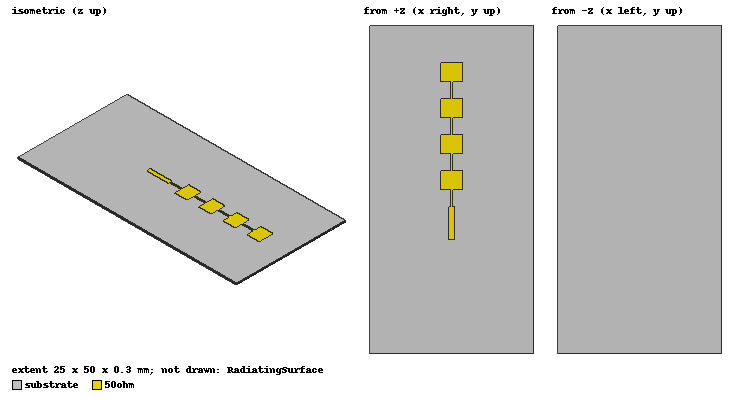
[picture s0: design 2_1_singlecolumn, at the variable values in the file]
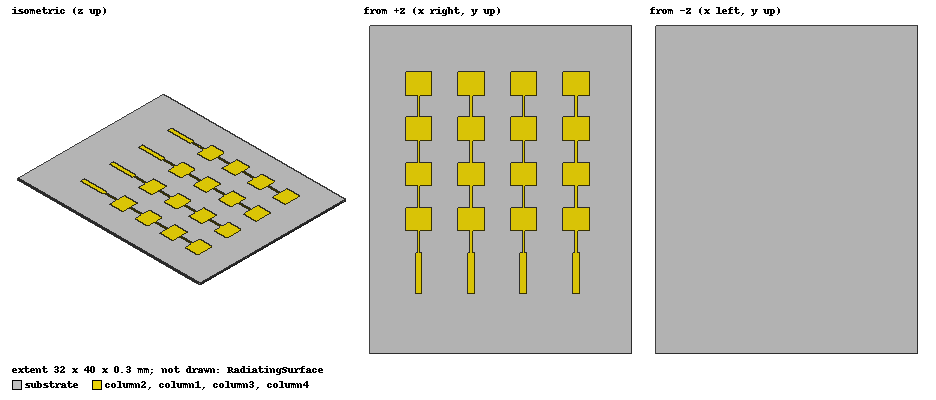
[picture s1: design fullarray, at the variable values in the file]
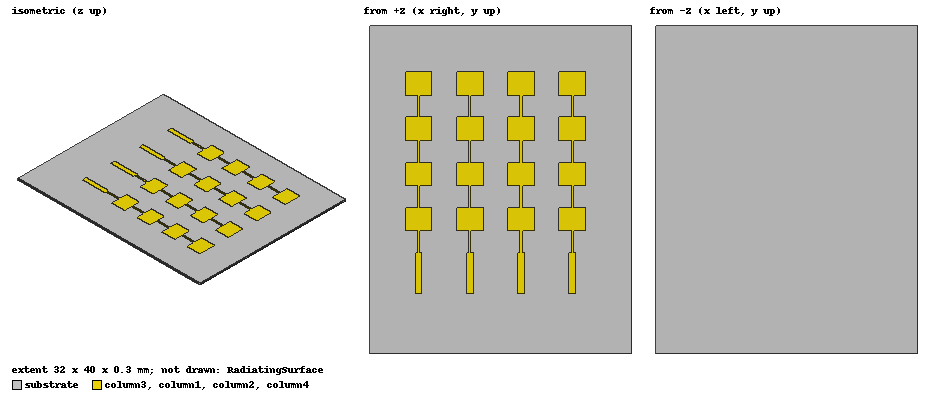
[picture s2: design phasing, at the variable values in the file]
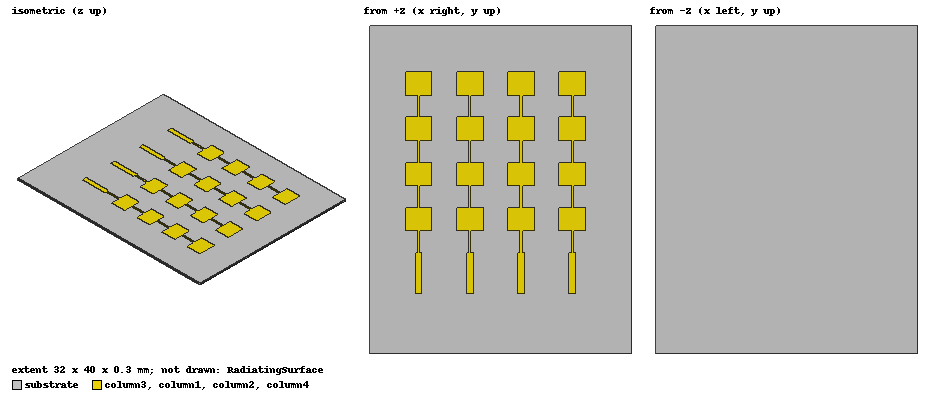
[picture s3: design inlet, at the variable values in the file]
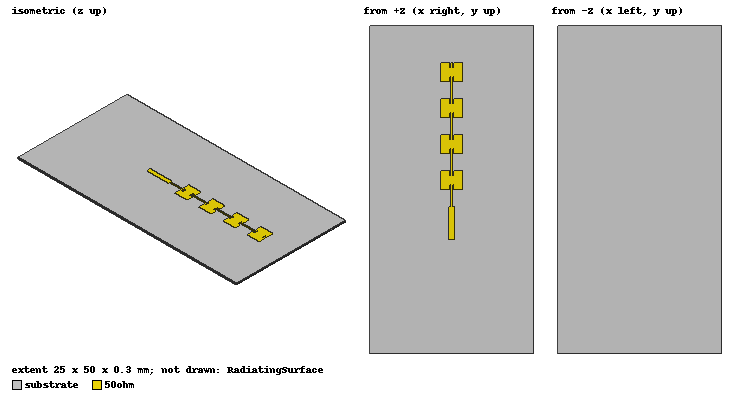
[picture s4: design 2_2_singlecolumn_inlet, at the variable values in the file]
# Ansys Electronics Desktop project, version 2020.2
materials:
  vacuum: permittivity=1
  Arlon AD410 (tm): permittivity=4.1 dielectric_loss_tangent=0.003
  air: permittivity=1.0006 permeability=1.0000004

design 2_1_singlecolumn (HFSS, DrivenModal, model units mm)
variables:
  subX = 25mm
  subY = 50mm
  subZ = 0.3mm
  patchW = 3.25mm
  patchL = 2.85mm
  arraySpaceL = 2.65mm
  qwtWidth = 0.3mm
  fiftyOhmW = 0.85mm
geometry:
  substrate [Arlon AD410 (tm)] = box(corner=(-subX/2, -subY/2, -subZ), size=(subX, subY, subZ))
  patch1 = rectangle(corner=(-patchW/2, 0mm, 0mm), x_size=patchW, y_size=patchL)
  patch2 = rectangle(corner=(-patchW/2, 1 * (patchL + arraySpaceL), 0mm), x_size=patchW, y_size=patchL)
  patch3 = rectangle(corner=(-patchW/2, 2*(patchL + arraySpaceL ), 0mm), x_size=patchW, y_size=patchL)
  patch4 = rectangle(corner=(-patchW/2, 3*(patchL + arraySpaceL), 0mm), x_size=patchW, y_size=patchL)
  QWTtrace = rectangle(corner=(-qwtWidth/2, -arraySpaceL, 0mm), x_size=qwtWidth, y_size=4*patchL + 4*arraySpaceL)
  50ohm = rectangle(corner=(-fiftyOhmW/2, -5mm - arraySpaceL, 0mm), x_size=fiftyOhmW, y_size=5mm)
  50ohm.unite(QWTtrace, patch1..patch4)
  Rectangle1 = rectangle(corner=(-fiftyOhmW/2, -(arraySpaceL + 5mm), -subZ), z_size=subZ, x_size=fiftyOhmW)
  RadiatingSurface [vacuum] = region(absolute_offset=3.5714286mm on all sides)
  coordinate_system RelativeCS1 = origin=(-0.15mm, 9.675mm, 0mm) x=(1mm, 0mm, 0mm) y=(0mm, 1mm, 0mm)
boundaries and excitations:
  ground: Perfect E Faces=substrate.face(-z)
  goldTrace: Finite Conductivity Faces=50ohm.face(at (0, -5.15, 0)) Conductivity=41100000 Permeability=1 IsInternal
  Open1: Radiation Objects=RadiatingSurface
  port1: Lumped Port Objects=Rectangle1 Modes{Mode1{IntLine{middle of Rectangle1.edge(z opposite corner) -> middle of Rectangle1.edge(z at corner)} CharImp=Zpi RenormImp=50ohm}} Impedance=50ohm
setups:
  Setup1: HfssDriven Frequency=28GHz MaxDeltaS=0.02 MaximumPasses=6 MinimumPasses=1 MinimumConvergedPasses=1 PercentRefinement=30 BasisOrder=0 PortAccuracy=2
    sweep Sweep: 20GHz to 36GHz, 401 points; Type=Interpolating InterpTolerance=0.2 InterpMaxSolns=250 InterpUsePortImped=false PassivityErrorTolerance=0.0001
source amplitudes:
  port1:1: 1W 0deg
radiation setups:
  3D: Infinite Sphere Theta=0deg..180deg step 2deg Phi=-180deg..180deg step 2deg
  Elevation: Infinite Sphere Theta=-180deg..180deg step 1deg Phi=0deg..90deg step 90deg
  Azimuth: Infinite Sphere Theta=90deg..90deg step 0deg Phi=-180deg..180deg step 1deg
  ff_2d: Infinite Sphere Theta=-180deg..180deg step 2deg Phi=0deg..90deg step 90deg
  Infinite Sphere1: Infinite Sphere Theta=0deg..180deg step 2deg Phi=0deg..360deg step 2deg
  coord: Infinite Sphere Theta=0deg..180deg step 2deg Phi=0deg..360deg step 2deg CoordSystem=RelativeCS1
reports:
  Gain Plot 1: dB(GainTotal) vs Phi, Theta on Setup1 : LastAdaptive, 3D [Freq=28GHz]
  Gain Plot 2: dB(GainTotal) vs Phi, Theta on Setup1 : LastAdaptive, coord [Freq=28GHz]

design fullarray (HFSS, DrivenModal, model units mm)
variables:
  subX = 32mm
  subY = 40mm
  subZ = 0.3mm
  patchW = 3.25mm
  patchL = 2.85mm
  arraySpaceL = 2.65mm
  qwtWidth = 0.3mm
  fiftyOhmW = 0.85mm
  antennaSpacing = ((6.25 +  0.15)/2) mm
  dt = 0deg
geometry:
  substrate [Arlon AD410 (tm)] = box(corner=(-6mm, -15mm, -subZ), size=(subX, subY, subZ))
  patch1 = rectangle(corner=(-patchW/2, 0mm, 0mm), x_size=patchW, y_size=patchL)
  patch2 = rectangle(corner=(-patchW/2, 1 * (patchL + arraySpaceL), 0mm), x_size=patchW, y_size=patchL)
  patch3 = rectangle(corner=(-patchW/2, 2*(patchL + arraySpaceL ), 0mm), x_size=patchW, y_size=patchL)
  patch4 = rectangle(corner=(-patchW/2, 3*(patchL + arraySpaceL), 0mm), x_size=patchW, y_size=patchL)
  QWTtrace = rectangle(corner=(-qwtWidth/2, -arraySpaceL, 0mm), x_size=qwtWidth, y_size=4*patchL + 4*arraySpaceL)
  column1 = rectangle(corner=(-fiftyOhmW/2, -5mm - arraySpaceL, 0mm), x_size=fiftyOhmW, y_size=5mm)
  column1.unite(QWTtrace, patch1..patch4)
  Rectangle1 = rectangle(corner=(-fiftyOhmW/2, -(arraySpaceL + 5mm), -subZ), z_size=subZ, x_size=fiftyOhmW)
  RadiatingSurface [vacuum] = region(absolute_offset=3.5714286mm on all sides)
  coordinate_system RelativeCS1 = origin=(0mm, 0mm, 0mm) x=(1mm, 0mm, 0mm) y=(0mm, 1mm, 0mm)
  column2 = rectangle(corner=(-fiftyOhmW/2+1*2*antennaSpacing, -5mm - arraySpaceL, 0mm), x_size=fiftyOhmW, y_size=5mm) in RelativeCS1
  QWTtrace1 = rectangle(corner=(-qwtWidth/2+1*2*antennaSpacing, -arraySpaceL, 0mm), x_size=qwtWidth, y_size=4*patchL + 4*arraySpaceL) in RelativeCS1
  patch5 = rectangle(corner=(-patchW/2+1*2*antennaSpacing, 0mm, 0mm), x_size=patchW, y_size=patchL) in RelativeCS1
  patch6 = rectangle(corner=(-patchW/2+1*2*antennaSpacing, 1 * (patchL + arraySpaceL), 0mm), x_size=patchW, y_size=patchL) in RelativeCS1
  patch7 = rectangle(corner=(-patchW/2+1*2*antennaSpacing, 2*(patchL + arraySpaceL ), 0mm), x_size=patchW, y_size=patchL) in RelativeCS1
  patch8 = rectangle(corner=(-patchW/2 +1*2*antennaSpacing, 3*(patchL + arraySpaceL), 0mm), x_size=patchW, y_size=patchL) in RelativeCS1
  column2.unite(QWTtrace1, patch5..patch8)
  column3 = rectangle(corner=(-fiftyOhmW/2+2*2*antennaSpacing, -5mm - arraySpaceL, 0mm), x_size=fiftyOhmW, y_size=5mm) in RelativeCS1
  QWTtrace2 = rectangle(corner=(-qwtWidth/2+2*2*antennaSpacing, -arraySpaceL, 0mm), x_size=qwtWidth, y_size=4*patchL + 4*arraySpaceL) in RelativeCS1
  patch9 = rectangle(corner=(-patchW/2+2*2*antennaSpacing, 0mm, 0mm), x_size=patchW, y_size=patchL) in RelativeCS1
  patch10 = rectangle(corner=(-patchW/2+2*2*antennaSpacing, 1 * (patchL + arraySpaceL), 0mm), x_size=patchW, y_size=patchL) in RelativeCS1
  patch11 = rectangle(corner=(-patchW/2 +2*2*antennaSpacing, 2*(patchL + arraySpaceL ), 0mm), x_size=patchW, y_size=patchL) in RelativeCS1
  patch12 = rectangle(corner=(-patchW/2 +2*2*antennaSpacing, 3*(patchL + arraySpaceL), 0mm), x_size=patchW, y_size=patchL) in RelativeCS1
  column3.unite(QWTtrace2, patch9..patch12)
  column4 = rectangle(corner=(-fiftyOhmW/2+3*2*antennaSpacing, -5mm - arraySpaceL, 0mm), x_size=fiftyOhmW, y_size=5mm)
  QWTtrace3 = rectangle(corner=(-qwtWidth/2+3*2*antennaSpacing, -arraySpaceL, 0mm), x_size=qwtWidth, y_size=4*patchL + 4*arraySpaceL)
  patch13 = rectangle(corner=(-patchW/2+3*2*antennaSpacing, 0mm, 0mm), x_size=patchW, y_size=patchL)
  patch14 = rectangle(corner=(-patchW/2+3*2*antennaSpacing, 1 * (patchL + arraySpaceL), 0mm), x_size=patchW, y_size=patchL)
  patch15 = rectangle(corner=(-patchW/2 +3*2*antennaSpacing, 2*(patchL + arraySpaceL ), 0mm), x_size=patchW, y_size=patchL)
  patch16 = rectangle(corner=(-patchW/2 +3*2*antennaSpacing, 3*(patchL + arraySpaceL), 0mm), x_size=patchW, y_size=patchL)
  column4.unite(QWTtrace3, patch13..patch16)
  port1 = rectangle(corner=(-fiftyOhmW/2, -7.65mm, -subZ), z_size=subZ, x_size=fiftyOhmW)
  port2 = rectangle(corner=(-fiftyOhmW/2+1*2*antennaSpacing, -7.65mm, -subZ), z_size=subZ, x_size=fiftyOhmW)
  port3 = rectangle(corner=(-fiftyOhmW/2+2*2*antennaSpacing, -7.65mm, -subZ), z_size=subZ, x_size=fiftyOhmW)
  port4 = rectangle(corner=(-fiftyOhmW/2+3*2*antennaSpacing, -7.65mm, -subZ), z_size=subZ, x_size=fiftyOhmW)
  coordinate_system RelativeCS2 = origin=(9.5mm, 9.5mm, 0mm) x=(1mm, 0mm, 0mm) y=(0mm, 1mm, 0mm)
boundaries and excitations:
  ground: Perfect E Faces=substrate.face(-z)
  Open1: Radiation Objects=RadiatingSurface
  goldTrace: Finite Conductivity Objects=[column1..column4] Conductivity=41100000 Permeability=1 IsInternal
  p1: Lumped Port Objects=port1 Modes{Mode1{IntLine{middle of port1.edge(z opposite corner) -> middle of port1.edge(z at corner)} CharImp=Zpi RenormImp=50ohm}} Impedance=50ohm
  p2: Lumped Port Objects=port2 Modes{Mode1{IntLine{middle of port2.edge(z opposite corner) -> middle of port2.edge(z at corner)} CharImp=Zpi RenormImp=50ohm}} Impedance=50ohm
  p3: Lumped Port Objects=port3 Modes{Mode1{IntLine{middle of port3.edge(z opposite corner) -> middle of port3.edge(z at corner)} CharImp=Zpi RenormImp=50ohm}} Impedance=50ohm
  p4: Lumped Port Objects=port4 Modes{Mode1{IntLine{middle of port4.edge(z opposite corner) -> middle of port4.edge(z at corner)} CharImp=Zpi RenormImp=50ohm}} Impedance=50ohm
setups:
  Setup1: HfssDriven Frequency=28GHz MaxDeltaS=0.02 MaximumPasses=6 MinimumPasses=1 MinimumConvergedPasses=1 PercentRefinement=30 BasisOrder=0 PortAccuracy=2
    sweep Sweep: 20GHz to 36GHz, 401 points; Type=Interpolating InterpTolerance=0.2 InterpMaxSolns=250 InterpUsePortImped=false PassivityErrorTolerance=0.0001
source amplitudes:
  p1:1, p4:1: 1W -30deg
  p2:1, p3:1: 1W -15deg
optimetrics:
  ParametricSetup1: Parametric Sim._Setups=[Setup1]
    sweep dt: LIN 0deg 360deg 10deg
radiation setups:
  3D: Infinite Sphere Theta=0deg..180deg step 2deg Phi=-180deg..180deg step 2deg
  Elevation: Infinite Sphere Theta=-180deg..180deg step 1deg Phi=0deg..90deg step 90deg
  Azimuth: Infinite Sphere Theta=90deg..90deg step 0deg Phi=-180deg..180deg step 1deg
  ff_2d: Infinite Sphere Theta=-180deg..180deg step 2deg Phi=0deg..90deg step 90deg
  Infinite Sphere1: Infinite Sphere Theta=0deg..180deg step 2deg Phi=0deg..360deg step 2deg
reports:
  Gain Plot 2: dB(GainTotal) vs Phi, Theta on Setup1 : LastAdaptive, Infinite Sphere1 [Freq=28GHz]
  Gain Plot 3: dB(GainTotal) vs Theta on Setup1 : LastAdaptive, ff_2d [Phi=all Freq=28GHz]; markers m1 at 0deg
  Directivity Plot 1: dB(DirTotal) vs Phi, Theta on Setup1 : LastAdaptive, 3D [Freq=28GHz dt=0deg]
  Directivity Plot 2: dB(DirTotal) vs Theta on Setup1 : LastAdaptive, ff_2d [Phi=all Freq=28GHz dt=all]; markers m1 at 0deg, m2 at 24deg

design phasing (HFSS, DrivenModal, model units mm)
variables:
  subX = 32mm
  subY = 40mm
  subZ = 0.3mm
  patchW = 3.25mm
  patchL = 2.85mm
  arraySpaceL = 2.65mm
  qwtWidth = 0.3mm
  fiftyOhmW = 0.85mm
  antennaSpacing = (6.25/2) mm
  dt = 0deg
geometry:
  substrate [Arlon AD410 (tm)] = box(corner=(-6mm, -15mm, -subZ), size=(subX, subY, subZ))
  patch1 = rectangle(corner=(-patchW/2, 0mm, 0mm), x_size=patchW, y_size=patchL)
  patch2 = rectangle(corner=(-patchW/2, 1 * (patchL + arraySpaceL), 0mm), x_size=patchW, y_size=patchL)
  patch3 = rectangle(corner=(-patchW/2, 2*(patchL + arraySpaceL ), 0mm), x_size=patchW, y_size=patchL)
  patch4 = rectangle(corner=(-patchW/2, 3*(patchL + arraySpaceL), 0mm), x_size=patchW, y_size=patchL)
  QWTtrace = rectangle(corner=(-qwtWidth/2, -arraySpaceL, 0mm), x_size=qwtWidth, y_size=4*patchL + 4*arraySpaceL)
  column1 = rectangle(corner=(-fiftyOhmW/2, -5mm - arraySpaceL, 0mm), x_size=fiftyOhmW, y_size=5mm)
  column1.unite(QWTtrace, patch1..patch4)
  Rectangle1 = rectangle(corner=(-fiftyOhmW/2, -(arraySpaceL + 5mm), -subZ), z_size=subZ, x_size=fiftyOhmW)
  RadiatingSurface [vacuum] = region(absolute_offset=3.5714286mm on all sides)
  coordinate_system RelativeCS1 = origin=(0mm, 0mm, 0mm) x=(1mm, 0mm, 0mm) y=(0mm, 1mm, 0mm)
  column2 = rectangle(corner=(-fiftyOhmW/2+1*2*antennaSpacing, -5mm - arraySpaceL, 0mm), x_size=fiftyOhmW, y_size=5mm) in RelativeCS1
  QWTtrace1 = rectangle(corner=(-qwtWidth/2+1*2*antennaSpacing, -arraySpaceL, 0mm), x_size=qwtWidth, y_size=4*patchL + 4*arraySpaceL) in RelativeCS1
  patch5 = rectangle(corner=(-patchW/2+1*2*antennaSpacing, 0mm, 0mm), x_size=patchW, y_size=patchL) in RelativeCS1
  patch6 = rectangle(corner=(-patchW/2+1*2*antennaSpacing, 1 * (patchL + arraySpaceL), 0mm), x_size=patchW, y_size=patchL) in RelativeCS1
  patch7 = rectangle(corner=(-patchW/2+1*2*antennaSpacing, 2*(patchL + arraySpaceL ), 0mm), x_size=patchW, y_size=patchL) in RelativeCS1
  patch8 = rectangle(corner=(-patchW/2 +1*2*antennaSpacing, 3*(patchL + arraySpaceL), 0mm), x_size=patchW, y_size=patchL) in RelativeCS1
  column2.unite(QWTtrace1, patch5..patch8)
  column3 = rectangle(corner=(-fiftyOhmW/2+2*2*antennaSpacing, -5mm - arraySpaceL, 0mm), x_size=fiftyOhmW, y_size=5mm) in RelativeCS1
  QWTtrace2 = rectangle(corner=(-qwtWidth/2+2*2*antennaSpacing, -arraySpaceL, 0mm), x_size=qwtWidth, y_size=4*patchL + 4*arraySpaceL) in RelativeCS1
  patch9 = rectangle(corner=(-patchW/2+2*2*antennaSpacing, 0mm, 0mm), x_size=patchW, y_size=patchL) in RelativeCS1
  patch10 = rectangle(corner=(-patchW/2+2*2*antennaSpacing, 1 * (patchL + arraySpaceL), 0mm), x_size=patchW, y_size=patchL) in RelativeCS1
  patch11 = rectangle(corner=(-patchW/2 +2*2*antennaSpacing, 2*(patchL + arraySpaceL ), 0mm), x_size=patchW, y_size=patchL) in RelativeCS1
  patch12 = rectangle(corner=(-patchW/2 +2*2*antennaSpacing, 3*(patchL + arraySpaceL), 0mm), x_size=patchW, y_size=patchL) in RelativeCS1
  column3.unite(QWTtrace2, patch9..patch12)
  column4 = rectangle(corner=(-fiftyOhmW/2+3*2*antennaSpacing, -5mm - arraySpaceL, 0mm), x_size=fiftyOhmW, y_size=5mm)
  QWTtrace3 = rectangle(corner=(-qwtWidth/2+3*2*antennaSpacing, -arraySpaceL, 0mm), x_size=qwtWidth, y_size=4*patchL + 4*arraySpaceL)
  patch13 = rectangle(corner=(-patchW/2+3*2*antennaSpacing, 0mm, 0mm), x_size=patchW, y_size=patchL)
  patch14 = rectangle(corner=(-patchW/2+3*2*antennaSpacing, 1 * (patchL + arraySpaceL), 0mm), x_size=patchW, y_size=patchL)
  patch15 = rectangle(corner=(-patchW/2 +3*2*antennaSpacing, 2*(patchL + arraySpaceL ), 0mm), x_size=patchW, y_size=patchL)
  patch16 = rectangle(corner=(-patchW/2 +3*2*antennaSpacing, 3*(patchL + arraySpaceL), 0mm), x_size=patchW, y_size=patchL)
  column4.unite(QWTtrace3, patch13..patch16)
  port1 = rectangle(corner=(-fiftyOhmW/2, -7.65mm, -subZ), z_size=subZ, x_size=fiftyOhmW)
  port2 = rectangle(corner=(-fiftyOhmW/2+1*2*antennaSpacing, -7.65mm, -subZ), z_size=subZ, x_size=fiftyOhmW)
  port3 = rectangle(corner=(-fiftyOhmW/2+2*2*antennaSpacing, -7.65mm, -subZ), z_size=subZ, x_size=fiftyOhmW)
  port4 = rectangle(corner=(-fiftyOhmW/2+3*2*antennaSpacing, -7.65mm, -subZ), z_size=subZ, x_size=fiftyOhmW)
  coordinate_system RelativeCS2 = origin=(9.6mm, 9.6mm, 0mm) x=(1mm, 0mm, 0mm) y=(0mm, 1mm, 0mm)
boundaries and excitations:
  ground: Perfect E Faces=substrate.face(-z)
  Open1: Radiation Objects=RadiatingSurface
  goldTrace: Finite Conductivity Objects=[column1..column4] Conductivity=41100000 Permeability=1 IsInternal
  p1: Lumped Port Objects=port1 Modes{Mode1{IntLine{middle of port1.edge(z opposite corner) -> middle of port1.edge(z at corner)} CharImp=Zpi RenormImp=50ohm}} Impedance=50ohm
  p2: Lumped Port Objects=port2 Modes{Mode1{IntLine{middle of port2.edge(z opposite corner) -> middle of port2.edge(z at corner)} CharImp=Zpi RenormImp=50ohm}} Impedance=50ohm
  p3: Lumped Port Objects=port3 Modes{Mode1{IntLine{middle of port3.edge(z opposite corner) -> middle of port3.edge(z at corner)} CharImp=Zpi RenormImp=50ohm}} Impedance=50ohm
  p4: Lumped Port Objects=port4 Modes{Mode1{IntLine{middle of port4.edge(z opposite corner) -> middle of port4.edge(z at corner)} CharImp=Zpi RenormImp=50ohm}} Impedance=50ohm
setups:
  Setup1: HfssDriven Frequency=28GHz MaxDeltaS=0.02 MaximumPasses=6 MinimumPasses=1 MinimumConvergedPasses=1 PercentRefinement=30 BasisOrder=0 PortAccuracy=2
    sweep Sweep: 20GHz to 36GHz, 401 points; Type=Interpolating InterpTolerance=0.2 InterpMaxSolns=250 InterpUsePortImped=false PassivityErrorTolerance=0.0001
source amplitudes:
  p1:1: 1W 0deg
  p2:1: 1W 1*dt
  p3:1: 1W 2*dt
  p4:1: 1W 3*dt
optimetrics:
  ParametricSetup1: Parametric Sim._Setups=[Setup1]
    sweep dt: LIN -90deg 90deg 2deg
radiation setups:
  3D: Infinite Sphere Theta=0deg..180deg step 2deg Phi=-180deg..180deg step 2deg
  Elevation: Infinite Sphere Theta=-180deg..180deg step 1deg Phi=0deg..90deg step 90deg
  Azimuth: Infinite Sphere Theta=90deg..90deg step 0deg Phi=-180deg..180deg step 1deg
  ff_2d: Infinite Sphere Theta=-180deg..180deg step 2deg Phi=0deg..90deg step 90deg
  Infinite Sphere1: Infinite Sphere Theta=0deg..180deg step 2deg Phi=0deg..360deg step 2deg
  center: Infinite Sphere Theta=0deg..180deg step 2deg Phi=0deg..360deg step 2deg CoordSystem=RelativeCS2
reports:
  Gain Plot 2: dB(GainTotal) vs Phi, Theta on Setup1 : LastAdaptive, Infinite Sphere1 [Freq=28GHz]
  Gain Plot 3: dB(GainTotal) vs Theta on Setup1 : LastAdaptive, ff_2d [Phi=all Freq=28GHz]; markers m1 at 0deg
  centerRadiation: dB(GainTotal) vs Phi, Theta on Setup1 : LastAdaptive, center [Freq=28GHz]
  Directivity Plot 1: dB(DirTotal) vs Theta on Setup1 : LastAdaptive, ff_2d [Phi=all Freq=28GHz dt=all]; markers m1 at 0deg, m2 at 24deg

design inlet (HFSS, DrivenModal, model units mm)
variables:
  subX = 32mm
  subY = 40mm
  subZ = 0.3mm
  patchW = 3.25mm
  patchL = 2.85mm
  arraySpaceL = 2.65mm
  qwtWidth = 0.3mm
  fiftyOhmW = 0.85mm
  antennaSpacing = (6.25/2) mm
  dt = 0deg
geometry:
  substrate [Arlon AD410 (tm)] = box(corner=(-6mm, -15mm, -subZ), size=(subX, subY, subZ))
  patch1 = rectangle(corner=(-patchW/2, 0mm, 0mm), x_size=patchW, y_size=patchL)
  patch2 = rectangle(corner=(-patchW/2, 1 * (patchL + arraySpaceL), 0mm), x_size=patchW, y_size=patchL)
  patch3 = rectangle(corner=(-patchW/2, 2*(patchL + arraySpaceL ), 0mm), x_size=patchW, y_size=patchL)
  patch4 = rectangle(corner=(-patchW/2, 3*(patchL + arraySpaceL), 0mm), x_size=patchW, y_size=patchL)
  QWTtrace = rectangle(corner=(-qwtWidth/2, -arraySpaceL, 0mm), x_size=qwtWidth, y_size=4*patchL + 4*arraySpaceL)
  column1 = rectangle(corner=(-fiftyOhmW/2, -5mm - arraySpaceL, 0mm), x_size=fiftyOhmW, y_size=5mm)
  column1.unite(QWTtrace, patch1..patch4)
  Rectangle1 = rectangle(corner=(-fiftyOhmW/2, -(arraySpaceL + 5mm), -subZ), z_size=subZ, x_size=fiftyOhmW)
  RadiatingSurface [vacuum] = region(absolute_offset=3.5714286mm on all sides)
  coordinate_system RelativeCS1 = origin=(0mm, 0mm, 0mm) x=(1mm, 0mm, 0mm) y=(0mm, 1mm, 0mm)
  column2 = rectangle(corner=(-fiftyOhmW/2+1*2*antennaSpacing, -5mm - arraySpaceL, 0mm), x_size=fiftyOhmW, y_size=5mm) in RelativeCS1
  QWTtrace1 = rectangle(corner=(-qwtWidth/2+1*2*antennaSpacing, -arraySpaceL, 0mm), x_size=qwtWidth, y_size=4*patchL + 4*arraySpaceL) in RelativeCS1
  patch5 = rectangle(corner=(-patchW/2+1*2*antennaSpacing, 0mm, 0mm), x_size=patchW, y_size=patchL) in RelativeCS1
  patch6 = rectangle(corner=(-patchW/2+1*2*antennaSpacing, 1 * (patchL + arraySpaceL), 0mm), x_size=patchW, y_size=patchL) in RelativeCS1
  patch7 = rectangle(corner=(-patchW/2+1*2*antennaSpacing, 2*(patchL + arraySpaceL ), 0mm), x_size=patchW, y_size=patchL) in RelativeCS1
  patch8 = rectangle(corner=(-patchW/2 +1*2*antennaSpacing, 3*(patchL + arraySpaceL), 0mm), x_size=patchW, y_size=patchL) in RelativeCS1
  column2.unite(QWTtrace1, patch5..patch8)
  column3 = rectangle(corner=(-fiftyOhmW/2+2*2*antennaSpacing, -5mm - arraySpaceL, 0mm), x_size=fiftyOhmW, y_size=5mm) in RelativeCS1
  QWTtrace2 = rectangle(corner=(-qwtWidth/2+2*2*antennaSpacing, -arraySpaceL, 0mm), x_size=qwtWidth, y_size=4*patchL + 4*arraySpaceL) in RelativeCS1
  patch9 = rectangle(corner=(-patchW/2+2*2*antennaSpacing, 0mm, 0mm), x_size=patchW, y_size=patchL) in RelativeCS1
  patch10 = rectangle(corner=(-patchW/2+2*2*antennaSpacing, 1 * (patchL + arraySpaceL), 0mm), x_size=patchW, y_size=patchL) in RelativeCS1
  patch11 = rectangle(corner=(-patchW/2 +2*2*antennaSpacing, 2*(patchL + arraySpaceL ), 0mm), x_size=patchW, y_size=patchL) in RelativeCS1
  patch12 = rectangle(corner=(-patchW/2 +2*2*antennaSpacing, 3*(patchL + arraySpaceL), 0mm), x_size=patchW, y_size=patchL) in RelativeCS1
  column3.unite(QWTtrace2, patch9..patch12)
  column4 = rectangle(corner=(-fiftyOhmW/2+3*2*antennaSpacing, -5mm - arraySpaceL, 0mm), x_size=fiftyOhmW, y_size=5mm)
  QWTtrace3 = rectangle(corner=(-qwtWidth/2+3*2*antennaSpacing, -arraySpaceL, 0mm), x_size=qwtWidth, y_size=4*patchL + 4*arraySpaceL)
  patch13 = rectangle(corner=(-patchW/2+3*2*antennaSpacing, 0mm, 0mm), x_size=patchW, y_size=patchL)
  patch14 = rectangle(corner=(-patchW/2+3*2*antennaSpacing, 1 * (patchL + arraySpaceL), 0mm), x_size=patchW, y_size=patchL)
  patch15 = rectangle(corner=(-patchW/2 +3*2*antennaSpacing, 2*(patchL + arraySpaceL ), 0mm), x_size=patchW, y_size=patchL)
  patch16 = rectangle(corner=(-patchW/2 +3*2*antennaSpacing, 3*(patchL + arraySpaceL), 0mm), x_size=patchW, y_size=patchL)
  column4.unite(QWTtrace3, patch13..patch16)
  port1 = rectangle(corner=(-fiftyOhmW/2, -7.65mm, -subZ), z_size=subZ, x_size=fiftyOhmW)
  port2 = rectangle(corner=(-fiftyOhmW/2+1*2*antennaSpacing, -7.65mm, -subZ), z_size=subZ, x_size=fiftyOhmW)
  port3 = rectangle(corner=(-fiftyOhmW/2+2*2*antennaSpacing, -7.65mm, -subZ), z_size=subZ, x_size=fiftyOhmW)
  port4 = rectangle(corner=(-fiftyOhmW/2+3*2*antennaSpacing, -7.65mm, -subZ), z_size=subZ, x_size=fiftyOhmW)
  coordinate_system RelativeCS2 = origin=(9.6mm, 9.6mm, 0mm) x=(1mm, 0mm, 0mm) y=(0mm, 1mm, 0mm)
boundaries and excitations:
  ground: Perfect E Faces=substrate.face(-z)
  Open1: Radiation Objects=RadiatingSurface
  goldTrace: Finite Conductivity Objects=[column1..column4] Conductivity=41100000 Permeability=1 IsInternal
  p1: Lumped Port Objects=port1 Modes{Mode1{IntLine{middle of port1.edge(z opposite corner) -> middle of port1.edge(z at corner)} CharImp=Zpi RenormImp=50ohm}} Impedance=50ohm
  p2: Lumped Port Objects=port2 Modes{Mode1{IntLine{middle of port2.edge(z opposite corner) -> middle of port2.edge(z at corner)} CharImp=Zpi RenormImp=50ohm}} Impedance=50ohm
  p3: Lumped Port Objects=port3 Modes{Mode1{IntLine{middle of port3.edge(z opposite corner) -> middle of port3.edge(z at corner)} CharImp=Zpi RenormImp=50ohm}} Impedance=50ohm
  p4: Lumped Port Objects=port4 Modes{Mode1{IntLine{middle of port4.edge(z opposite corner) -> middle of port4.edge(z at corner)} CharImp=Zpi RenormImp=50ohm}} Impedance=50ohm
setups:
  Setup1: HfssDriven Frequency=28GHz MaxDeltaS=0.02 MaximumPasses=6 MinimumPasses=1 MinimumConvergedPasses=1 PercentRefinement=30 BasisOrder=0 PortAccuracy=2
    sweep Sweep: 20GHz to 36GHz, 401 points; Type=Interpolating InterpTolerance=0.2 InterpMaxSolns=250 InterpUsePortImped=false PassivityErrorTolerance=0.0001
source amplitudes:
  p1:1: 1W 0deg
  p2:1: 1W 1*dt
  p3:1: 1W 2*dt
  p4:1: 1W 3*dt
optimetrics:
  ParametricSetup1: Parametric Sim._Setups=[Setup1]
    sweep dt: LIN -90deg 90deg 2deg
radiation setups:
  3D: Infinite Sphere Theta=0deg..180deg step 2deg Phi=-180deg..180deg step 2deg
  Elevation: Infinite Sphere Theta=-180deg..180deg step 1deg Phi=0deg..90deg step 90deg
  Azimuth: Infinite Sphere Theta=90deg..90deg step 0deg Phi=-180deg..180deg step 1deg
  ff_2d: Infinite Sphere Theta=-180deg..180deg step 2deg Phi=0deg..90deg step 90deg
  Infinite Sphere1: Infinite Sphere Theta=0deg..180deg step 2deg Phi=0deg..360deg step 2deg
  center: Infinite Sphere Theta=0deg..180deg step 2deg Phi=0deg..360deg step 2deg CoordSystem=RelativeCS2
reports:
  Gain Plot 2: dB(GainTotal) vs Phi, Theta on Setup1 : LastAdaptive, Infinite Sphere1 [Freq=28GHz]
  Gain Plot 3: dB(GainTotal) vs Theta on Setup1 : LastAdaptive, ff_2d [Phi=all Freq=28GHz]; markers m1 at 0deg
  centerRadiation: dB(GainTotal) vs Phi, Theta on Setup1 : LastAdaptive, center [Freq=28GHz]
  Directivity Plot 1: dB(DirTotal) vs Theta on Setup1 : LastAdaptive, ff_2d [Phi=all Freq=28GHz dt=all]; markers m1 at 0deg, m2 at 24deg

design 2_2_singlecolumn_inlet (HFSS, DrivenModal, model units mm)
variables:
  subX = 25mm
  subY = 50mm
  subZ = 0.3mm
  patchW = 3.25mm
  patchL = 2.85mm
  arraySpaceL = 2.65mm
  qwtWidth = 0.3mm
  fiftyOhmW = 0.85mm
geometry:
  substrate [Arlon AD410 (tm)] = box(corner=(-subX/2, -subY/2, -subZ), size=(subX, subY, subZ))
  patch1 = rectangle(corner=(-patchW/2, 0mm, 0mm), x_size=patchW, y_size=patchL)
  patch2 = rectangle(corner=(-patchW/2, 1 * (patchL + arraySpaceL), 0mm), x_size=patchW, y_size=patchL)
  patch3 = rectangle(corner=(-patchW/2, 2*(patchL + arraySpaceL ), 0mm), x_size=patchW, y_size=patchL)
  patch4 = rectangle(corner=(-patchW/2, 3*(patchL + arraySpaceL), 0mm), x_size=patchW, y_size=patchL)
  QWTtrace = rectangle(corner=(-qwtWidth/2, -arraySpaceL, 0mm), x_size=qwtWidth, y_size=4*patchL + 4*arraySpaceL)
  50ohm = rectangle(corner=(-fiftyOhmW/2, -5mm - arraySpaceL, 0mm), x_size=fiftyOhmW, y_size=5mm)
  Rectangle1 = rectangle(corner=(-fiftyOhmW/2, -(arraySpaceL + 5mm), -subZ), z_size=subZ, x_size=fiftyOhmW)
  RadiatingSurface [vacuum] = region(absolute_offset=3.5714286mm on all sides)
  inlet1_1 = rectangle(corner=(-qwtWidth, 0mm, 0mm), x_size=qwtWidth*2, y_size=patchL/4)
  inlet1_2 = rectangle(corner=(-qwtWidth, 3*patchL/4, 0mm), x_size=qwtWidth*2, y_size=patchL/4)
  inlet2_1 = rectangle(corner=(-qwtWidth, 1 * (patchL + arraySpaceL), 0mm), x_size=qwtWidth*2, y_size=patchL/4)
  inlet2_2 = rectangle(corner=(-qwtWidth, 1*(patchL + arraySpaceL)+(3*patchL/4), 0mm), x_size=qwtWidth*2, y_size=patchL/4)
  inlet3_1 = rectangle(corner=(-qwtWidth, 2 * (patchL + arraySpaceL), 0mm), x_size=qwtWidth*2, y_size=patchL/4)
  inlet3_2 = rectangle(corner=(-qwtWidth, 2*(patchL + arraySpaceL)+(3*patchL/4), 0mm), x_size=qwtWidth*2, y_size=patchL/4)
  inlet4_1 = rectangle(corner=(-qwtWidth, 3 * (patchL + arraySpaceL), 0mm), x_size=qwtWidth*2, y_size=patchL/4)
  inlet4_2 = rectangle(corner=(-qwtWidth, 3*(patchL + arraySpaceL)+(3*patchL/4), 0mm), x_size=qwtWidth*2, y_size=patchL/4)
  inlet1_1.unite(inlet1_2)
  inlet2_1.unite(inlet2_2)
  inlet3_1.unite(inlet3_2)
  inlet4_1.unite(inlet4_2)
  patch1.subtract(inlet1_1)
  patch2.subtract(inlet2_1)
  patch3.subtract(inlet3_1)
  patch4.subtract(inlet4_1)
  50ohm.unite(patch1..patch4, QWTtrace)
  coordinate_system RelativeCS1 = origin=(0mm, 9.4mm, 0mm) x=(1mm, 0mm, 0mm) y=(0mm, 1mm, 0mm)
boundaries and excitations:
  ground: Perfect E Faces=substrate.face(-z)
  Open1: Radiation Objects=RadiatingSurface
  traceAu: Finite Conductivity Objects=50ohm Conductivity=41100000 Permeability=1 IsInternal
  port1: Lumped Port Objects=Rectangle1 Modes{Mode1{IntLine{middle of Rectangle1.edge(z opposite corner) -> middle of Rectangle1.edge(z at corner)} CharImp=Zpi RenormImp=50ohm}} Impedance=50ohm
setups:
  Setup1: HfssDriven Frequency=28GHz MaxDeltaS=0.02 MaximumPasses=6 MinimumPasses=1 MinimumConvergedPasses=1 PercentRefinement=30 BasisOrder=0 PortAccuracy=2
    sweep Sweep: 20GHz to 36GHz, 401 points; Type=Interpolating InterpTolerance=0.2 InterpMaxSolns=250 InterpUsePortImped=false PassivityErrorTolerance=0.0001
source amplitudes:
  port1:1: 1W 0deg
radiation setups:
  3D: Infinite Sphere Theta=0deg..180deg step 2deg Phi=-180deg..180deg step 2deg
  Elevation: Infinite Sphere Theta=-180deg..180deg step 1deg Phi=0deg..90deg step 90deg
  Azimuth: Infinite Sphere Theta=90deg..90deg step 0deg Phi=-180deg..180deg step 1deg
  ff_2d: Infinite Sphere Theta=-180deg..180deg step 2deg Phi=0deg..90deg step 90deg
  Infinite Sphere1: Infinite Sphere Theta=0deg..180deg step 2deg Phi=0deg..360deg step 2deg
  coord: Infinite Sphere Theta=0deg..180deg step 2deg Phi=0deg..360deg step 2deg CoordSystem=RelativeCS1
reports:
  Gain Plot 1: dB(GainTotal) vs Phi, Theta on Setup1 : LastAdaptive, 3D [Freq=28GHz]
  Gain Plot 1_1: dB(GainTotal) vs Phi, Theta on Setup1 : LastAdaptive, 3D [Freq=28GHz]
  Gain Plot 2: dB(GainTotal) vs Phi, Theta on Setup1 : LastAdaptive, coord [Freq=28GHz]
